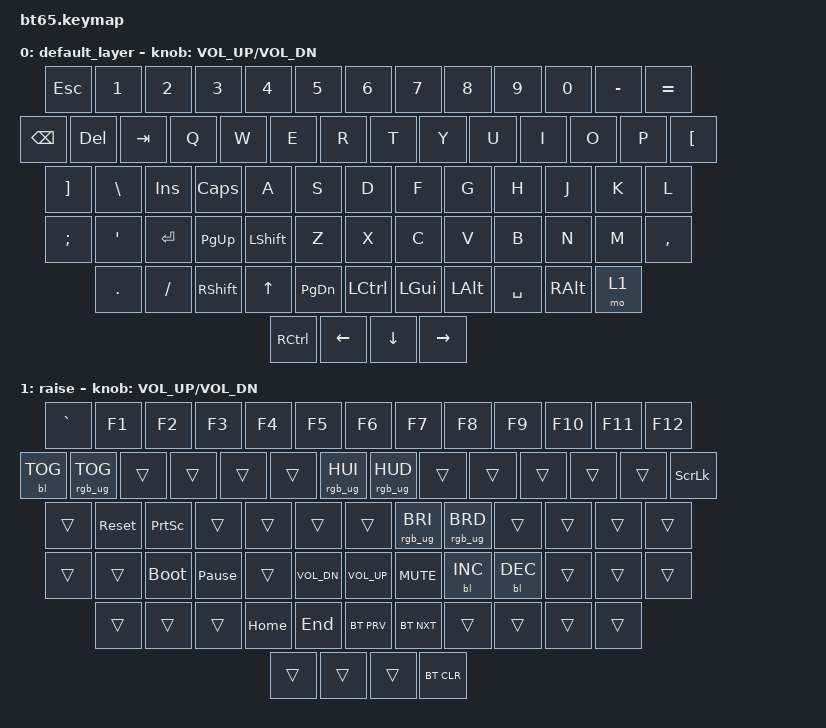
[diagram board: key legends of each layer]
#include <behaviors.dtsi>
#include <dt-bindings/zmk/keys.h>
#include <dt-bindings/zmk/bt.h>
#include <dt-bindings/zmk/rgb.h>
#include <dt-bindings/zmk/backlight.h>

#define ANSI
//#define ISO
//#define ALL_1U
//#define HHKB

/ {
    chosen {
  #ifdef ANSI
        zmk,physical-layout = &layout_65_ansi;
  #elif defined(ISO)
        zmk,physical-layout = &layout_65_iso;
  #elif defined(ALL_1U)
        zmk,physical-layout = &layout_65_all1u;
  #elif defined(HHKB)
        zmk,physical-layout = &layout_65_hhkb;
  #else
  #error "Layout not defined, please define a layout by uncommenting the appropriate line in bt65.keymap"
  #endif
    };

    keymap {
        compatible = "zmk,keymap";
    #ifdef ANSI
        default_layer {
            // ------------------------------------------------------------------------------------------------
            // | ESC |  1  |  2  |  3  |  4  |  5  |  6  |  7  |  8  |  9  |  0  |  -  |  =  |   BSPC   | DEL |
            // | TAB   |  Q  |  W  |  E  |  R  |  T  |  Y  |  U  |  I  |  O  |  P  |  [  |  ]  |   \    | INS |
            // | CAPS   |  A  |  S  |  D  |  F  |  G  |  H  |  J  |  K  |  L  |  ;  |  '  |    ENTER    | PGUP|
            // |  SHIFT   |  Z  |  X  |  C  |  V  |  B  |  N  |  M  |  ,  |  .  |  /  |   SHIFT   | UP  | PGDN|
            // |  CTL  |  WIN  |  ALT  |             SPACE                | ALT |  1  |RCTRL| LEFT| DOWN|RIGHT|
            // ------------------------------------------------------------------------------------------------
            bindings = <&kp ESC &kp N1 &kp N2 &kp N3 &kp N4 &kp N5 &kp N6 &kp N7 &kp N8 &kp N9 &kp N0 &kp MINUS &kp
                        EQUAL &kp BSPC &kp DEL &kp TAB &kp Q &kp W &kp E &kp R &kp T &kp Y &kp U &kp I &kp O &kp P &kp
                        LBKT &kp RBKT &kp BSLH &kp INS &kp CLCK &kp A &kp S &kp D &kp F &kp G &kp H &kp J &kp K &kp L
                        &kp SEMI &kp SQT &kp RET &kp PG_UP &kp LSHFT &kp Z &kp X &kp C &kp V &kp B &kp N &kp M &kp COMMA
                        &kp DOT &kp FSLH &kp RSHFT &kp UP &kp PG_DN &kp LCTRL &kp LGUI &kp LALT &kp SPACE &kp RALT &mo 1
                        &kp RCTRL &kp LEFT &kp DOWN &kp RIGHT>;
            sensor-bindings = <&inc_dec_kp C_VOL_UP C_VOL_DN>;
        };

        raise {
            // --------------------------------------------------------------------------------------------------
            // |GRAVE| F1  | F2  | F3  | F4  | F5  | F6  | F7  | F8  | F9  | F10 | F11 | F12 |  BL_TOG  |RGB_TOG|
            // | TAB  |  Q  |  W  |  E  | HUI | HUD |  Y  |  U  |  I  |  O  |  P  | SLCK|  ]  |  RESET   | PSCRN|
            // | CAPS  |  A  |  S  |  D  | BRI | BRD |  H  |  J  |  K  |  L  |  ;  |  '  |     BOOT      | P_BRK|
            // |  SHIFT   |VOLDN|VOLUP| MUTE|BLINC|BLDEC|  N  |  M  |  ,  |  .  |  /  |    SHIFT  | HOME |  END |
            // | BT_PRV| BT_NXT|  ALT  |            SPACE               | ALT |  1  | CTRL | LEFT | DOWN |BT_CLR|
            // --------------------------------------------------------------------------------------------------
            bindings = <&kp GRAVE &kp F1 &kp F2 &kp F3 &kp F4 &kp F5 &kp F6 &kp F7 &kp F8 &kp F9 &kp F10 &kp F11 &kp F12
                        &bl BL_TOG &rgb_ug RGB_TOG &trans &trans &trans &trans &rgb_ug RGB_HUI &rgb_ug RGB_HUD &trans
                        &trans &trans &trans &trans &kp SLCK &trans &sys_reset &kp PSCRN &trans &trans &trans &trans
                        &rgb_ug RGB_BRI &rgb_ug RGB_BRD &trans &trans &trans &trans &trans &trans &bootloader &kp
                        PAUSE_BREAK &trans &kp C_VOL_DN &kp C_VOL_UP &kp C_MUTE &bl BL_INC &bl BL_DEC &trans &trans
                        &trans &trans &trans &trans &kp HOME &kp END &bt BT_PRV &bt BT_NXT &trans &trans &trans &trans
                        &trans &trans &trans &bt BT_CLR>;
            sensor-bindings = <&inc_dec_kp C_VOL_UP C_VOL_DN>;
        };
    #elif defined(ISO)
        default_layer {
            // ------------------------------------------------------------------------------------------------
            // | ESC |  1  |  2  |  3  |  4  |  5  |  6  |  7  |  8  |  9  |  0  |  -  |  =  |   BSPC   | DEL |
            // | TAB   |  Q  |  W  |  E  |  R  |  T  |  Y  |  U  |  I  |  O  |  P  |  [  |  ]  |        | INS |
            // | CAPS   |  A  |  S  |  D  |  F  |  G  |  H  |  J  |  K  |  L  |  ;  |  '  |  #  | ENTER | PGUP|
            // |SHIFT |  \  |  Z  |  X  |  C  |  V  |  B  |  N  |  M  |  ,  |  .  |  /  |  SHIFT  | UP  | PGDN|
            // |  CTL  |  WIN  |  ALT  |             SPACE                | ALT |  1  |RCTRL| LEFT| DOWN|RIGHT|
            // ------------------------------------------------------------------------------------------------
            bindings = <&kp ESC &kp N1 &kp N2 &kp N3 &kp N4 &kp N5 &kp N6 &kp N7 &kp N8 &kp N9 &kp N0 &kp MINUS &kp
                        EQUAL &kp BSPC &kp DEL &kp TAB &kp Q &kp W &kp E &kp R &kp T &kp Y &kp U &kp I &kp O &kp P &kp
                        LBKT &kp RBKT &kp INS &kp CLCK &kp A &kp S &kp D &kp F &kp G &kp H &kp J &kp K &kp L &kp SEMI
                        &kp SQT &kp NON_US_HASH &kp RET &kp PG_UP &kp LSHFT &kp NON_US_BSLH &kp Z &kp X &kp C &kp V &kp
                        B &kp N &kp M &kp COMMA &kp DOT &kp FSLH &kp RSHFT &kp UP &kp PG_DN &kp LCTRL &kp LGUI &kp LALT
                        &kp SPACE &kp RALT &mo 1 &kp RCTRL &kp LEFT &kp DOWN &kp RIGHT>;
            sensor-bindings = <&inc_dec_kp C_VOL_UP C_VOL_DN>;
        };

        raise {
            // --------------------------------------------------------------------------------------------------
            // |GRAVE| F1  | F2  | F3  | F4  | F5  | F6  | F7  | F8  | F9  | F10 | F11 | F12 |  BL_TOG  |RGB_TOG|
            // | TAB  |  Q  |  W  |  E  | HUI | HUD |  Y  |  U  |  I  |  O  |  P  | SLCK|  ]  |          | PSCRN|
            // | CAPS  |  A  |  S  |  D  | BRI | BRD |  H  |  J  |  K  |  L  |  ;  |  '  |RESET|   BOOT  | P_BRK|
            // |SHIFT |VOLDN|VOLUP| MUTE|BLINC|BLDEC|  B  |  N  |  M  |  ,  |  .  |  /  |  SHIFT  | HOME |  END |
            // | BT_PRV| BT_NXT|  ALT  |            SPACE               | ALT |  1  | CTRL | LEFT | DOWN |BT_CLR|
            // --------------------------------------------------------------------------------------------------
            bindings = <&kp GRAVE &kp F1 &kp F2 &kp F3 &kp F4 &kp F5 &kp F6 &kp F7 &kp F8 &kp F9 &kp F10 &kp F11 &kp F12
                        &bl BL_TOG &rgb_ug RGB_TOG &trans &trans &trans &trans &rgb_ug RGB_HUI &rgb_ug RGB_HUD &trans
                        &trans &trans &trans &trans &kp SLCK &trans &kp PSCRN &trans &trans &trans &trans &rgb_ug
                        RGB_BRI &rgb_ug RGB_BRD &trans &trans &trans &trans &trans &trans &sys_reset &bootloader &kp
                        PAUSE_BREAK &trans &kp C_VOL_DN &kp C_VOL_UP &kp C_MUTE &bl BL_INC &bl BL_DEC &trans &trans
                        &trans &trans &trans &trans &trans &kp HOME &kp END &bt BT_PRV &bt BT_NXT &trans &trans &trans
                        &trans &trans &trans &trans &bt BT_CLR>;
            sensor-bindings = <&inc_dec_kp C_VOL_UP C_VOL_DN>;
        };
    #elif defined(ALL_1U)
        default_layer {
            // -------------------------------------------------------------------------------------------------
            // | ESC |  1  |  2  |  3  |  4  |  5  |  6  |  7  |  8  |  9  |  0  |  -  |  =  |BSPC | DEL | HOME|
            // | TAB    |  Q  |  W  |  E  |  R  |  T  |  Y  |  U  |  I  |  O  |  P  |  [  |  ]  |   \    | END |
            // | CAPS    |  A  |  S  |  D  |  F  |  G  |  H  |  J  |  K  |  L  |  ;  |  '  |     ENTER   | PGUP|
            // |SHIFT|NONE |  Z  |  X  |  C  |  V  |  B  |  N  |  M  |  ,  |  .  |  /  |SHIFT|NONE |  UP | PGDN|
            // |  CTL  |  WIN  |  ALT  |              SPACE                | ALT |  1  |RCTRL| LEFT| DOWN|RIGHT|
            // -------------------------------------------------------------------------------------------------
            bindings = <&kp ESC &kp N1 &kp N2 &kp N3 &kp N4 &kp N5 &kp N6 &kp N7 &kp N8 &kp N9 &kp N0 &kp MINUS &kp
                        EQUAL &kp BSPC &kp DEL &kp HOME &kp TAB &kp Q &kp W &kp E &kp R &kp T &kp Y &kp U &kp I &kp O
                        &kp P &kp LBKT &kp RBKT &kp BSLH &kp END &kp CLCK &kp A &kp S &kp D &kp F &kp G &kp H &kp J &kp
                        K &kp L &kp SEMI &kp SQT &kp RET &kp PG_UP &kp LSHFT &none &kp Z &kp X &kp C &kp V &kp B &kp N
                        &kp M &kp COMMA &kp DOT &kp FSLH &kp RSHFT &none &kp UP &kp PG_DN &kp LCTRL &kp LGUI &kp LALT
                        &kp SPACE &kp LALT &mo 1 &kp RCTRL &kp LEFT &kp DOWN &kp RIGHT>;
            sensor-bindings = <&inc_dec_kp C_VOL_UP C_VOL_DN>;
        };

        raise {
            // --------------------------------------------------------------------------------------------------
            // |GRAVE| F1  | F2  | F3  | F4  | F5  | F6  | F7  | F8  | F9  | F10 | F11 | F12 |BL_TOG|RGB_TOG|HOME|
            // | TAB  |  Q  |  W  |  E  | HUI | HUD |  Y  |  U  |  I  |  O  |  P  | SLCK|  ]  |  RESET   | PSCRN|
            // | CAPS  |  A  |  S  |  D  | BRI | BRD |  H  |  J  |  K  |  L  |  ;  |  '  |      BOOT     | P_BRK|
            // |SHIFT| NONE|VOLDN|VOLUP| MUTE|BLINC|BLDEC|  N  |  M  |  ,  |  .  |  /  |SHIFT| NONE|  UP | INS  |
            // | BT_PRV| BT_NXT|  ALT  |            SPACE                 | ALT |  1  | CTRL| LEFT| DOWN |BT_CLR|
            // --------------------------------------------------------------------------------------------------
            bindings = <&kp GRAVE &kp F1 &kp F2 &kp F3 &kp F4 &kp F5 &kp F6 &kp F7 &kp F8 &kp F9 &kp F10 &kp F11 &kp F12
                        &bl BL_TOG &rgb_ug RGB_TOG &trans &trans &trans &trans &trans &rgb_ug RGB_HUI &rgb_ug RGB_HUD
                        &trans &trans &trans &trans &trans &kp SLCK &trans &sys_reset &kp PSCRN &trans &trans &trans
                        &trans &rgb_ug RGB_BRI &rgb_ug RGB_BRD &trans &trans &trans &trans &trans &trans &bootloader &kp
                        PAUSE_BREAK &trans &none &kp C_VOL_DN &kp C_VOL_UP &kp C_MUTE &bl BL_INC &bl BL_DEC &trans
                        &trans &trans &trans &trans &trans &trans &trans &kp INS &bt BT_PRV &bt BT_NXT &trans &trans
                        &trans &trans &trans &trans &trans &bt BT_CLR>;
            sensor-bindings = <&inc_dec_kp C_VOL_UP C_VOL_DN>;
        };
    #elif defined(HHKB)
        default_layer {
            // ------------------------------------------------------------------------------------------------
            // | ESC |  1  |  2  |  3  |  4  |  5  |  6  |  7  |  8  |  9  |  0  |  -  |  =  |   BSPC   | DEL |
            // | TAB   |  Q  |  W  |  E  |  R  |  T  |  Y  |  U  |  I  |  O  |  P  |  [  |  ]  |   \    | HOME|
            // | CAPS   |  A  |  S  |  D  |  F  |  G  |  H  |  J  |  K  |  L  |  ;  |  '  |    ENTER    | END |
            // |  SHIFT   |  Z  |  X  |  C  |  V  |  B  |  N  |  M  |  ,  |  .  |  /  |      SHIFT      | PGUP|
            // |  CTL  |  WIN  |  ALT  |               SPACE                   |  ALT  |   1   |  CTRL  | PGDN|
            // ------------------------------------------------------------------------------------------------
            bindings = <&kp ESC &kp N1 &kp N2 &kp N3 &kp N4 &kp N5 &kp N6 &kp N7 &kp N8 &kp N9 &kp N0 &kp MINUS &kp
                        EQUAL &kp BSPC &kp DEL &kp TAB &kp Q &kp W &kp E &kp R &kp T &kp Y &kp U &kp I &kp O &kp P &kp
                        LBKT &kp RBKT &kp BSLH &kp HOME &kp CLCK &kp A &kp S &kp D &kp F &kp G &kp H &kp J &kp K &kp L
                        &kp SEMI &kp SQT &kp RET &kp END &kp LSHFT &kp Z &kp X &kp C &kp V &kp B &kp N &kp M &kp COMMA
                        &kp DOT &kp FSLH &kp RSHFT &kp PG_UP &kp LCTRL &kp LGUI &kp LALT &kp SPACE &kp RALT &mo 1 &kp
                        RCTRL &kp PG_DN>;
            sensor-bindings = <&inc_dec_kp C_VOL_UP C_VOL_DN>;
        };

        raise {
            // --------------------------------------------------------------------------------------------------
            // |GRAVE| F1  | F2  | F3  | F4  | F5  | F6  | F7  | F8  | F9  | F10 | F11 | F12 |  BL_TOG  |RGB_TOG|
            // | TAB  |  Q  |  UP |  E  | HUI | HUD |  Y  |  U  |  I  |  O  |  P  | SLCK|  ]  |   RESET  | PSCRN|
            // | CAPS  | LEFT| DOWN|RIGHT| BRI | BRD |  H  |  J  |  K  |  L  |  ;  |  '  |      BOOT     | P_BRK|
            // |  SHIFT  |VOLDN|VOLUP| MUTE|BLINC|BLDEC|  N  |  M  |  ,  |  .  |  /  |      SHIFT        |  INS |
            // | BT_PRV | BT_NXT |  ALT   |             SPACE                   |  ALT  |   1   |  CTRL  |BT_CLR|
            // --------------------------------------------------------------------------------------------------
            bindings = <&kp GRAVE &kp F1 &kp F2 &kp F3 &kp F4 &kp F5 &kp F6 &kp F7 &kp F8 &kp F9 &kp F10 &kp F11 &kp F12
                        &bl BL_TOG &rgb_ug RGB_TOG &trans &trans &kp UP &trans &rgb_ug RGB_HUI &rgb_ug RGB_HUD &trans
                        &trans &trans &trans &trans &kp SLCK &trans &sys_reset &kp PSCRN &trans &kp LEFT &kp DOWN &kp
                        RIGHT &rgb_ug RGB_BRI &rgb_ug RGB_BRD &trans &trans &trans &trans &trans &trans &bootloader &kp
                        PAUSE_BREAK &trans &kp C_VOL_DN &kp C_VOL_UP &kp C_MUTE &bl BL_INC &bl BL_DEC &trans &trans
                        &trans &trans &trans &trans &kp INS &bt BT_PRV &bt BT_NXT &trans &trans &trans &trans &trans &bt
                        BT_CLR>;
            sensor-bindings = <&inc_dec_kp C_VOL_UP C_VOL_DN>;
        };
    #else
    #error "Layout not defined, please define a layout by uncommenting the appropriate line in bt65.keymap"
    #endif
    };
};
